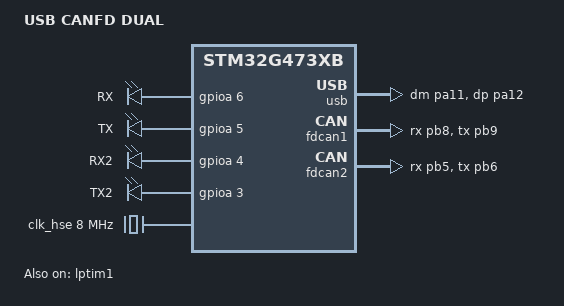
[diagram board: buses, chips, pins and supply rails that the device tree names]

/dts-v1/;
#include <st/g4/stm32g473Xb.dtsi>
#include <st/g4/stm32g473c(b-c-e)tx-pinctrl.dtsi>

/ {
	model = "USB CANFD DUAL";
	compatible = "usbcanfd_Oleksii,usbcanfd_Oleksii_g473";

	chosen {
		zephyr,sram = &sram0;
		zephyr,flash = &flash0;
		zephyr,canbus = &fdcan1;
	};

	aliases {
		led0 = &led_rx;
		led1 = &led_tx;
		led2 = &led_rx2;
		led3 = &led_tx2;
		
	};

	leds: leds {
		compatible = "gpio-leds";

		led_rx: led_rx {
			gpios = <&gpioa 6 GPIO_ACTIVE_HIGH>;
			label = "RX";
		};

		led_tx: led_tx {
			gpios = <&gpioa 5 GPIO_ACTIVE_HIGH>;
			label = "TX";
		};
		led_rx2: led_rx2 {
			gpios = <&gpioa 4 GPIO_ACTIVE_HIGH>;
			label = "RX2";
		};

		led_tx2: led_tx2 {
			gpios = <&gpioa 3 GPIO_ACTIVE_HIGH>;
			label = "TX2";
		};			
	};
};

/*
&clk_hsi {          // Internal 16 MHz clock used to drive PLL 
	status = "okay";
};
*/

&clk_hse {
	clock-frequency = <DT_FREQ_M(8)>; /* HSE 8 Mhz */
	status = "okay";
};


&clk_hsi48 {
	/* Internal 48 MHz clock used to drive USB */
	status = "okay";
};

/* Adjust the pll for a SYSTEM Clock of 160 MHz  */
&pll {
	div-m = <2>; // 4 16Mhz
	mul-n = <80>;
	div-p = <2>;
	div-q = <4>;
	div-r = <2>;
	clocks = <&clk_hse>;//<&clk_hsi>
	status = "okay";
};

&rcc {
	clocks = <&pll>;
	clock-frequency = <DT_FREQ_M(160)>;
	ahb-prescaler = <1>;
	apb1-prescaler = <1>;
	apb2-prescaler = <1>;
};

stm32_lp_tick_source: &lptim1 {
	clocks = <&rcc STM32_CLOCK(APB1, 31)>,
		 <&rcc STM32_SRC_LSE LPTIM1_SEL(3)>;
	status = "okay";
};

zephyr_udc0: &usb {
	pinctrl-0 = <&usb_dm_pa11 &usb_dp_pa12>;
	pinctrl-names = "default";
	clocks = <&rcc STM32_CLOCK(APB1, 23)>,
		 <&rcc STM32_SRC_HSI48 CLK48_SEL(0)>;
	status = "okay";
};

&fdcan1 {
	pinctrl-0 = <&fdcan1_rx_pb8 &fdcan1_tx_pb9>;
	pinctrl-names = "default";
	clocks = <&rcc STM32_CLOCK(APB1, 25)>,
		 <&rcc STM32_SRC_PLL_Q FDCAN_SEL(1)>;
	status = "okay";
};
&fdcan2 {
	pinctrl-0 = <&fdcan2_rx_pb5 &fdcan2_tx_pb6>;
	pinctrl-names = "default";
	clocks = <&rcc STM32_CLOCK(APB1, 25)>,
		 <&rcc STM32_SRC_PLL_Q FDCAN_SEL(1)>;
	status = "okay";
};
